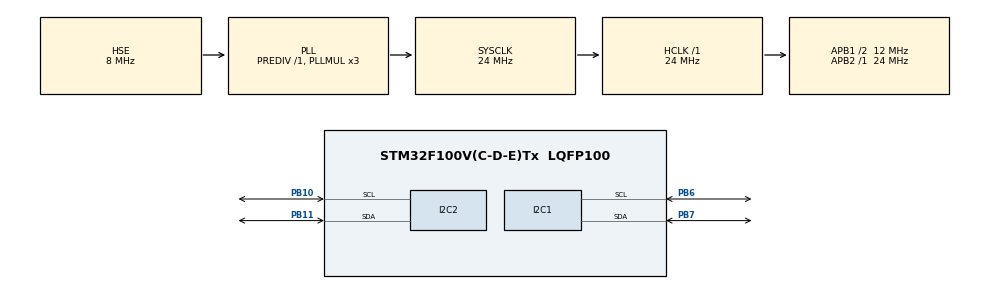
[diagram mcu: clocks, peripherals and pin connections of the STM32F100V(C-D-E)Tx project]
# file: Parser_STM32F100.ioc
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Dma.I2C2_RX.0.Direction=DMA_PERIPH_TO_MEMORY
Dma.I2C2_RX.0.Instance=DMA1_Channel5
Dma.I2C2_RX.0.MemDataAlignment=DMA_MDATAALIGN_BYTE
Dma.I2C2_RX.0.MemInc=DMA_MINC_ENABLE
Dma.I2C2_RX.0.Mode=DMA_NORMAL
Dma.I2C2_RX.0.PeriphDataAlignment=DMA_PDATAALIGN_BYTE
Dma.I2C2_RX.0.PeriphInc=DMA_PINC_DISABLE
Dma.I2C2_RX.0.Priority=DMA_PRIORITY_LOW
Dma.I2C2_TX.1.Direction=DMA_MEMORY_TO_PERIPH
Dma.I2C2_TX.1.Instance=DMA1_Channel4
Dma.I2C2_TX.1.MemDataAlignment=DMA_MDATAALIGN_BYTE
Dma.I2C2_TX.1.MemInc=DMA_MINC_ENABLE
Dma.I2C2_TX.1.Mode=DMA_NORMAL
Dma.I2C2_TX.1.PeriphDataAlignment=DMA_PDATAALIGN_BYTE
Dma.I2C2_TX.1.PeriphInc=DMA_PINC_DISABLE
Dma.I2C2_TX.1.Priority=DMA_PRIORITY_LOW
Dma.Request0=I2C2_RX
Dma.Request1=I2C2_TX
I2C2.OwnAddress=0x10
Mcu.Family=STM32F1
Mcu.Name=STM32F100V(C-D-E)Tx
Mcu.Package=LQFP100
NVIC.DMA1_Channel4_IRQn=true\:0\:0\:false\:false\:true\:false\:true\:true
NVIC.DMA1_Channel5_IRQn=true\:0\:0\:false\:false\:true\:false\:true\:true
NVIC.I2C1_EV_IRQn=true\:0\:0\:false\:false\:true\:true\:true\:true
NVIC.I2C2_EV_IRQn=true\:0\:0\:false\:false\:true\:true\:true\:true
NVIC.PriorityGroup=NVIC_PRIORITYGROUP_4
OSC_IN.Mode=HSE-External-Oscillator
OSC_IN.Signal=RCC_OSC_IN
OSC_OUT.Mode=HSE-External-Oscillator
OSC_OUT.Signal=RCC_OSC_OUT
PA13.Mode=Serial_Wire
PA13.Signal=SYS_JTMS-SWDIO
PA14.Mode=Serial_Wire
PA14.Signal=SYS_JTCK-SWCLK
PB10.Mode=I2C
PB10.Signal=I2C2_SCL
PB11.Mode=I2C
PB11.Signal=I2C2_SDA
PB6.Mode=I2C
PB6.Signal=I2C1_SCL
PB7.Mode=I2C
PB7.Signal=I2C1_SDA
PC14-OSC32_IN.Mode=LSE-External-Oscillator
PC14-OSC32_IN.Signal=RCC_OSC32_IN
PC15-OSC32_OUT.Mode=LSE-External-Oscillator
PC15-OSC32_OUT.Signal=RCC_OSC32_OUT
ProjectManager.HeapSize=0x200
ProjectManager.StackSize=0x400
ProjectManager.TargetToolchain=STM32CubeIDE
RCC.AHBFreq_Value=24000000
RCC.APB1CLKDivider=RCC_HCLK_DIV2
RCC.APB1Freq_Value=12000000
RCC.APB1TimFreq_Value=24000000
RCC.APB2Freq_Value=24000000
RCC.APB2TimFreq_Value=24000000
RCC.HCLKFreq_Value=24000000
RCC.PLLMUL=RCC_PLL_MUL3
RCC.PLLSource=RCC_PLLSOURCE_HSE
RCC.SYSCLKFreq_VALUE=24000000
RCC.SYSCLKSource=RCC_SYSCLKSOURCE_PLLCLK
board=custom

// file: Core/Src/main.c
/* USER CODE BEGIN Header */
/**
  ******************************************************************************
  * @file           : main.c
  * @brief          : Main program body
  ******************************************************************************
  * @attention
  *
  * Copyright (c) 2023 STMicroelectronics.
  * All rights reserved.
  *
  * This software is licensed under terms that can be found in the LICENSE file
  * in the root directory of this software component.
  * If no LICENSE file comes with this software, it is provided AS-IS.
  *
  ******************************************************************************
  */
/* USER CODE END Header */
#include "main.h"

/* USER CODE BEGIN Includes */
#include <string.h>
#include "parser.h"
#include "stm32f1xx_hal_gpio.h"
#include "uart_conf.h"
#include "hw_desc_gpio_stm32f1.h"
#include "pcf8574.h"
#include "watchdog_conf.h"

/* USER CODE END Includes */

I2C_HandleTypeDef hi2c1;
I2C_HandleTypeDef hi2c2;
DMA_HandleTypeDef hdma_i2c2_rx;
DMA_HandleTypeDef hdma_i2c2_tx;

void SystemClock_Config(void);
static void MX_GPIO_Init(void);
static void MX_DMA_Init(void);
static void MX_I2C1_Init(void);
static void MX_I2C2_Init(void);

/* USER CODE BEGIN 0 */

/* Initialization of timer object */
sTIMObj_t sTimerObj;

/* USER CODE END 0 */

int main(void)
{

  /* MCU Configuration--------------------------------------------------------*/

  /* Reset of all peripherals, Initializes the Flash interface and the Systick. */
  HAL_Init();

  /* Configure the system clock */
  SystemClock_Config();

  /* Initialize all configured peripherals */
  MX_GPIO_Init();
  MX_DMA_Init();
  MX_I2C1_Init();
  MX_I2C2_Init();
  /* USER CODE BEGIN 2 */

  /* Initialization of Timer */
  vTimerInit(&sTimerObj);

  /* Start timer */
  sTimerObj.pfvStart();

  /* Initialization of watchdog */
  vWatchdogHwInit();

  /* Initialization of uart */
  vUartHwInit(&UART_UPP);

  /* Initialization of parser */
  vParserInit(&sTimerObj, GetUARTObj(&UART_UPP));

  /* USER CODE END 2 */

  /* Infinite loop */
  while (1)
  {

    /* USER CODE BEGIN 3 */
	  vRcvMsg();

	  /* refresh watchdog */
	  vWatchdogRefresh();
  }
  /* USER CODE END 3 */
}

void SystemClock_Config(void)
{
  RCC_OscInitTypeDef RCC_OscInitStruct = {0};
  RCC_ClkInitTypeDef RCC_ClkInitStruct = {0};

  /** Initializes the RCC Oscillators according to the specified parameters
  * in the RCC_OscInitTypeDef structure.
  */
  RCC_OscInitStruct.OscillatorType = RCC_OSCILLATORTYPE_HSE;
  RCC_OscInitStruct.HSEState = RCC_HSE_ON;
  RCC_OscInitStruct.HSEPredivValue = RCC_HSE_PREDIV_DIV1;
  RCC_OscInitStruct.PLL.PLLState = RCC_PLL_ON;
  RCC_OscInitStruct.PLL.PLLSource = RCC_PLLSOURCE_HSE;
  RCC_OscInitStruct.PLL.PLLMUL = RCC_PLL_MUL3;
  if (HAL_RCC_OscConfig(&RCC_OscInitStruct) != HAL_OK)
  {
    Error_Handler();
  }

  /** Initializes the CPU, AHB and APB buses clocks
  */
  RCC_ClkInitStruct.ClockType = RCC_CLOCKTYPE_HCLK|RCC_CLOCKTYPE_SYSCLK
                              |RCC_CLOCKTYPE_PCLK1|RCC_CLOCKTYPE_PCLK2;
  RCC_ClkInitStruct.SYSCLKSource = RCC_SYSCLKSOURCE_PLLCLK;
  RCC_ClkInitStruct.AHBCLKDivider = RCC_SYSCLK_DIV1;
  RCC_ClkInitStruct.APB1CLKDivider = RCC_HCLK_DIV2;
  RCC_ClkInitStruct.APB2CLKDivider = RCC_HCLK_DIV1;

  if (HAL_RCC_ClockConfig(&RCC_ClkInitStruct, FLASH_LATENCY_0) != HAL_OK)
  {
    Error_Handler();
  }
}

static void MX_I2C1_Init(void)
{

  hi2c1.Instance = I2C1;
  hi2c1.Init.ClockSpeed = 100000;
  hi2c1.Init.DutyCycle = I2C_DUTYCYCLE_2;
  hi2c1.Init.OwnAddress1 = 0;
  hi2c1.Init.AddressingMode = I2C_ADDRESSINGMODE_7BIT;
  hi2c1.Init.DualAddressMode = I2C_DUALADDRESS_DISABLE;
  hi2c1.Init.OwnAddress2 = 0;
  hi2c1.Init.GeneralCallMode = I2C_GENERALCALL_DISABLE;
  hi2c1.Init.NoStretchMode = I2C_NOSTRETCH_DISABLE;
  if (HAL_I2C_Init(&hi2c1) != HAL_OK)
  {
    Error_Handler();
  }

}

static void MX_I2C2_Init(void)
{

  hi2c2.Instance = I2C2;
  hi2c2.Init.ClockSpeed = 100000;
  hi2c2.Init.DutyCycle = I2C_DUTYCYCLE_2;
  hi2c2.Init.OwnAddress1 = 32;
  hi2c2.Init.AddressingMode = I2C_ADDRESSINGMODE_7BIT;
  hi2c2.Init.DualAddressMode = I2C_DUALADDRESS_DISABLE;
  hi2c2.Init.OwnAddress2 = 0;
  hi2c2.Init.GeneralCallMode = I2C_GENERALCALL_DISABLE;
  hi2c2.Init.NoStretchMode = I2C_NOSTRETCH_DISABLE;
  if (HAL_I2C_Init(&hi2c2) != HAL_OK)
  {
    Error_Handler();
  }

}

static void MX_DMA_Init(void)
{

  /* DMA controller clock enable */
  __HAL_RCC_DMA1_CLK_ENABLE();

  /* DMA interrupt init */
  /* DMA1_Channel4_IRQn interrupt configuration */
  HAL_NVIC_SetPriority(DMA1_Channel4_IRQn, 0, 0);
  HAL_NVIC_EnableIRQ(DMA1_Channel4_IRQn);
  /* DMA1_Channel5_IRQn interrupt configuration */
  HAL_NVIC_SetPriority(DMA1_Channel5_IRQn, 0, 0);
  HAL_NVIC_EnableIRQ(DMA1_Channel5_IRQn);

}

static void MX_GPIO_Init(void)
{

  /* GPIO Ports Clock Enable */
  __HAL_RCC_GPIOC_CLK_ENABLE();
  __HAL_RCC_GPIOB_CLK_ENABLE();
  __HAL_RCC_GPIOA_CLK_ENABLE();

}

void Error_Handler(void)
{
  /* USER CODE BEGIN Error_Handler_Debug */
  /* User can add his own implementation to report the HAL error return state */
  __disable_irq();
  while (1)
  {
    //
  }
  /* USER CODE END Error_Handler_Debug */
}
